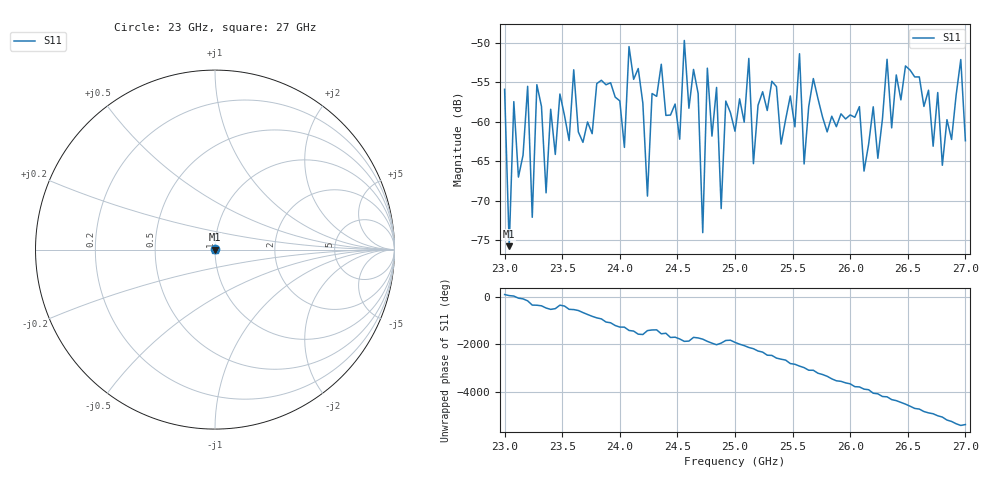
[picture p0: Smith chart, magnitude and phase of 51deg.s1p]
#  HZ  S  RI  R  50.00
! Rohde & Schwarz ZVA40 4Ports - Version 3.90 - 1145.1110k42 SN: 100403
! Date: 2023-09-26 11:04:25
! Measurement: S12
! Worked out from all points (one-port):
!   101 points, 23 GHz to 27 GHz, reference 50 ohm
!   lowest |S11| = -75.7 dB at 23.04 GHz (marker M1), VSWR 1.00, Z = 50 + j0.0129 ohm
!   |S11| at or under -10 dB: start of sweep to end of sweep
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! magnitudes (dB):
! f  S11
! 23 GHz  -55.9
! 23.04 GHz  -75.7
! 23.08 GHz  -57.4
! 23.12 GHz  -67.0
! 23.2 GHz  -55.5
! 23.24 GHz  -72.1
! 23.28 GHz  -55.3
! 23.36 GHz  -69.0
! 23.52 GHz  -59.2
! 24 GHz  -57.3
! 24.16 GHz  -53.3
! 24.24 GHz  -69.4
! 24.36 GHz  -52.7
! 24.52 GHz  -62.2
! 24.56 GHz  -49.7
! 24.68 GHz  -56.4
! 24.72 GHz  -74.0
! 24.76 GHz  -53.2
! 24.84 GHz  -55.6
! 24.88 GHz  -71.0
! 24.92 GHz  -57.4
! 25 GHz  -61.2
! 25.52 GHz  -60.6
! 26 GHz  -59.1
! 26.52 GHz  -53.4
! 26.8 GHz  -65.5
! 26.96 GHz  -52.1
! 27 GHz  -62.4
